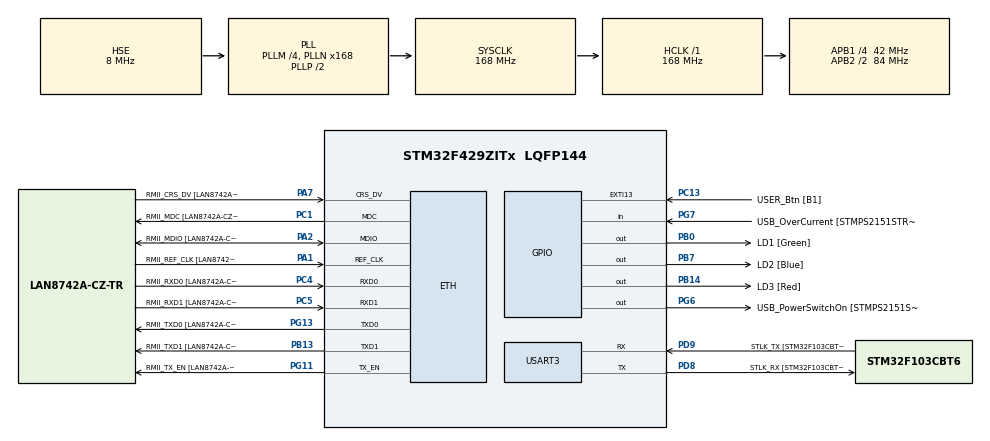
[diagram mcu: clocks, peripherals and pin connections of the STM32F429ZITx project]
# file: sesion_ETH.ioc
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ETH.MACAddr=00\:80\:E1\:FE\:EC\:72
ETH.MediaInterface=HAL_ETH_RMII_MODE
ETH.PHY_Name=LAN8742A_PHY_ADDRESS
ETH.PHY_Value=0
ETH.PhyAddress=0
FREERTOS.Tasks01=defaultTask,0,1024,StartDefaultTask,Default,NULL,Dynamic,NULL,NULL
FREERTOS.configTOTAL_HEAP_SIZE=32768
FREERTOS.configUSE_NEWLIB_REENTRANT=1
LWIP.BSP.number=1
LWIP.LWIP_HTTPD=1
LWIP.Version=v2.1.2_Cube
LWIP0.BSP.STBoard=false
LWIP0.BSP.api=BSP_COMPONENT_DRIVER
LWIP0.BSP.component=LAN8742
LWIP0.BSP.instance=LAN8742
LWIP0.BSP.name=Driver_PHY
LWIP0.BSP.semaphore=S_LAN8742
LWIP0.BSP.solution=LAN8742
Mcu.Family=STM32F4
Mcu.Name=STM32F429ZITx
Mcu.Package=LQFP144
NVIC.ETH_IRQn=true\:5\:0\:false\:false\:true\:true\:false\:true\:true
NVIC.PriorityGroup=NVIC_PRIORITYGROUP_4
NVIC.TIM8_TRG_COM_TIM14_IRQn=true\:15\:0\:false\:false\:true\:false\:false\:true\:true
NVIC.TimeBase=TIM8_TRG_COM_TIM14_IRQn
NVIC.TimeBaseIP=TIM14
PA1.GPIO_Label=RMII_REF_CLK [LAN8742A-CZ-TR_REFCLK0]
PA1.Mode=RMII
PA1.Signal=ETH_REF_CLK
PA10.GPIO_Label=USB_ID
PA10.Signal=USB_OTG_FS_ID
PA11.GPIO_Label=USB_DM
PA11.Signal=USB_OTG_FS_DM
PA12.GPIO_Label=USB_DP
PA12.Signal=USB_OTG_FS_DP
PA13.GPIO_Label=TMS
PA13.Mode=Serial_Wire
PA13.Signal=SYS_JTMS-SWDIO
PA14.GPIO_Label=TCK
PA14.Mode=Serial_Wire
PA14.Signal=SYS_JTCK-SWCLK
PA2.GPIO_Label=RMII_MDIO [LAN8742A-CZ-TR_MDIO]
PA2.Mode=RMII
PA2.Signal=ETH_MDIO
PA7.GPIO_Label=RMII_CRS_DV [LAN8742A-CZ-TR_CRS_DV]
PA7.Mode=RMII
PA7.Signal=ETH_CRS_DV
PA8.GPIO_Label=USB_SOF [TP1]
PA8.Signal=USB_OTG_FS_SOF
PA9.GPIO_Label=USB_VBUS
PA9.Signal=USB_OTG_FS_VBUS
PB0.GPIO_Label=LD1 [Green]
PB0.Signal=GPIO_Output
PB13.GPIO_Label=RMII_TXD1 [LAN8742A-CZ-TR_TXD1]
PB13.Mode=RMII
PB13.Signal=ETH_TXD1
PB14.GPIO_Label=LD3 [Red]
PB14.Signal=GPIO_Output
PB7.GPIO_Label=LD2 [Blue]
PB7.Signal=GPIO_Output
PC1.GPIO_Label=RMII_MDC [LAN8742A-CZ-TR_MDC]
PC1.Mode=RMII
PC1.Signal=ETH_MDC
PC13.GPIO_Label=USER_Btn [B1]
PC13.Signal=GPXTI13
PC14/OSC32_IN.Mode=LSE-External-Oscillator
PC14/OSC32_IN.Signal=RCC_OSC32_IN
PC15/OSC32_OUT.Mode=LSE-External-Oscillator
PC15/OSC32_OUT.Signal=RCC_OSC32_OUT
PC4.GPIO_Label=RMII_RXD0 [LAN8742A-CZ-TR_RXD0]
PC4.Mode=RMII
PC4.Signal=ETH_RXD0
PC5.GPIO_Label=RMII_RXD1 [LAN8742A-CZ-TR_RXD1]
PC5.Mode=RMII
PC5.Signal=ETH_RXD1
PD8.GPIO_Label=STLK_RX [STM32F103CBT6_PA3]
PD8.Mode=Asynchronous
PD8.Signal=USART3_TX
PD9.GPIO_Label=STLK_TX [STM32F103CBT6_PA2]
PD9.Mode=Asynchronous
PD9.Signal=USART3_RX
PG11.GPIO_Label=RMII_TX_EN [LAN8742A-CZ-TR_TXEN]
PG11.Mode=RMII
PG11.Signal=ETH_TX_EN
PG13.GPIO_Label=RMII_TXD0 [LAN8742A-CZ-TR_TXD0]
PG13.Mode=RMII
PG13.Signal=ETH_TXD0
PG6.GPIO_Label=USB_PowerSwitchOn [STMPS2151STR_EN]
PG6.Signal=GPIO_Output
PG7.GPIO_Label=USB_OverCurrent [STMPS2151STR_FAULT]
PG7.Signal=GPIO_Input
PH0/OSC_IN.GPIO_Label=MCO [STM32F103CBT6_PA8]
PH0/OSC_IN.Mode=HSE-External-Clock-Source
PH0/OSC_IN.Signal=RCC_OSC_IN
PH1/OSC_OUT.Mode=HSE-External-Clock-Source
PH1/OSC_OUT.Signal=RCC_OSC_OUT
ProjectManager.HeapSize=0x200
ProjectManager.StackSize=0x400
ProjectManager.TargetToolchain=STM32CubeIDE
RCC.48MHZClocksFreq_Value=48000000
RCC.AHBFreq_Value=168000000
RCC.APB1CLKDivider=RCC_HCLK_DIV4
RCC.APB1Freq_Value=42000000
RCC.APB1TimFreq_Value=84000000
RCC.APB2CLKDivider=RCC_HCLK_DIV2
RCC.APB2Freq_Value=84000000
RCC.APB2TimCLKDivider=2
RCC.APB2TimFreq_Value=168000000
RCC.CortexFreq_Value=168000000
RCC.HCLKFreq_Value=168000000
RCC.HSE_VALUE=8000000
RCC.HSI_VALUE=16000000
RCC.PLLM=4
RCC.PLLMUL=RCC_PLL_MUL9
RCC.PLLN=168
RCC.PLLQ=7
RCC.PLLSourceVirtual=RCC_PLLSOURCE_HSE
RCC.PRESCALERUSB=RCC_USBCLKSOURCE_PLL_DIV1_5
RCC.SYSCLKFreq_VALUE=168000000
RCC.SYSCLKSource=RCC_SYSCLKSOURCE_PLLCLK
RCC.SYSCLKSourceVirtual=RCC_SYSCLKSOURCE_PLLCLK
RCC.USBFreq_Value=48000000
RCC.VCOOutputFreq_Value=336000000
USART3.VirtualMode=VM_ASYNC
VP_FREERTOS_VS_CMSIS_V1.Mode=CMSIS_V1
VP_LWIP_VS_Enabled.Mode=Enabled
VP_RNG_VS_RNG.Mode=RNG_Activate
VP_SYS_VS_tim14.Mode=TIM14
board=NUCLEO-F429ZI

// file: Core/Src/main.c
/* USER CODE BEGIN Header */
/**
 ******************************************************************************
 * @file           : main.c
 * @brief          : Main program body
 ******************************************************************************
 * @attention
 *
 * Copyright (c) 2024 STMicroelectronics.
 * All rights reserved.
 *
 * This software is licensed under terms that can be found in the LICENSE file
 * in the root directory of this software component.
 * If no LICENSE file comes with this software, it is provided AS-IS.
 *
 ******************************************************************************
 */
/* USER CODE END Header */
#include "main.h"
#include "cmsis_os.h"
#include "lwip.h"

/* USER CODE BEGIN Includes */
#include "lwip/apps/httpd.h"
#include "lwip/api.h"

/* USER CODE END Includes */

/* USER CODE BEGIN PTD */
extern void tcpecho_init(void);
extern void telnet_init(void);
/* USER CODE END PTD */

/* USER CODE BEGIN PD */
#define CMD_BUFFER_LEN 64
/* USER CODE END PD */

RNG_HandleTypeDef hrng;

UART_HandleTypeDef huart3;

osThreadId defaultTaskHandle;

void SystemClock_Config(void);
static void MX_GPIO_Init(void);
static void MX_USART3_UART_Init(void);
static void MX_RNG_Init(void);
void StartDefaultTask(void const * argument);

/* USER CODE BEGIN 0 */
	static void telnet_process_command(char *cmd, struct netconn *conn){
		char *token;
		static uint8_t stateLED1 = 0;
		static uint8_t stateLED2 = 0;
		char *send;
		token = strtok(cmd," ");

		//printf("received: '%s'\n", data);

		if (strcasecmp("HELLO",token)==0){
			sprintf(send,"HELLO, Welcome to the HELL \n");
			netconn_write(conn, send, strlen(send), NETCONN_COPY);
		}else if (strcasecmp("LED1",token)==0) {
			token = strtok(NULL," ");
			if (strcasecmp("ON",token)==0){
				HAL_GPIO_WritePin(LD1_GPIO_Port, LD1_Pin, 1);
				stateLED1 = 1;
			}else if (strcasecmp("OFF",token)==0) {
				HAL_GPIO_WritePin(LD1_GPIO_Port, LD1_Pin, 0);
				stateLED1 = 0;
			}else {
				sprintf(send,"command not supported \n");
				netconn_write(conn, send, strlen(send), NETCONN_COPY);
			}
		}else if (strcasecmp("LED2",token)==0) {
			token = strtok(NULL," ");
			if (strcasecmp("ON",token)==0){
				HAL_GPIO_WritePin(LD2_GPIO_Port, LD2_Pin, 1);
				stateLED2 =1;
			}else if (strcasecmp("OFF",token)==0){
				HAL_GPIO_WritePin(LD2_GPIO_Port, LD2_Pin, 0);
				stateLED2 = 0;
			}else {
				sprintf(send,"command not supported /n");
				netconn_write(conn, send, strlen(send), NETCONN_COPY);
			}
		}else if (strcasecmp("STATUS",token)==0) {
			if ((stateLED1 || stateLED2) == 0){
				sprintf(send,"both LED is OFF \n");
				netconn_write(conn, send, strlen(send), NETCONN_COPY);
				return;
			}
			if ((stateLED1 && stateLED2) == 1){
				sprintf(send,"both LED is ON \n");
				netconn_write(conn, send, strlen(send), NETCONN_COPY);
				return;
			}
			if (stateLED1 == 1 && stateLED2 == 0){
				sprintf(send," LED1 is ON \n");
				netconn_write(conn, send, strlen(send), NETCONN_COPY);
			}else {
				sprintf(send," LED1 is OFF /n");
				netconn_write(conn, send, strlen(send), NETCONN_COPY);
			}
			if (stateLED2 == 1 && stateLED2 == 0){
				sprintf(send," LED2 is ON \n");
				netconn_write(conn, send, strlen(send), NETCONN_COPY);

			}else {
				sprintf(send," LED2 is OFF \n");
				netconn_write(conn, send, strlen(send), NETCONN_COPY);
			}
		}
	}

	void telnet_byte_available(uint8_t c, struct netconn *conn)
		{
		 static uint16_t cnt;
		 static char data[CMD_BUFFER_LEN];
		 if (cnt < CMD_BUFFER_LEN && c >= 32 && c <= 127) data[cnt++] = c;
		 if (c == '\n' || c == '\r') {
		 data[cnt] = '\0';
		 telnet_process_command(data, conn);
		 cnt = 0;
		 }
		}
	static void http_client(char *s, uint16_t size)
	{
	 struct netconn *client;
	 struct netbuf *buf;
	 ip_addr_t ip;
	 uint16_t len = 0;
	 IP_ADDR4(&ip, 147,229,144,124);
	 const char *request = "GET /ip.php HTTP/1.1\r\n"
	 "Host: www.urel.feec.vutbr.cz\r\n"
	 "Connection: close\r\n"
	 "\r\n\r\n";
	 client = netconn_new(NETCONN_TCP);
	 if (netconn_connect(client, &ip, 80) == ERR_OK) {
	 netconn_write(client, request, strlen(request), NETCONN_COPY);
	 // Receive the HTTP response
	 s[0] = 0;
	 while (len < size && netconn_recv(client, &buf) == ERR_OK) {
	 len += netbuf_copy(buf, &s[len], size-len);
	 s[len] = 0;
	 netbuf_delete(buf);
	 }
	 } else {
	 sprintf(s, "Connection error\n");
	 }
	 netconn_delete(client);
	}
/* USER CODE END 0 */

int main(void)
{

  /* MCU Configuration--------------------------------------------------------*/

  /* Reset of all peripherals, Initializes the Flash interface and the Systick. */
  HAL_Init();

  /* Configure the system clock */
  SystemClock_Config();

  /* Initialize all configured peripherals */
  MX_GPIO_Init();
  MX_USART3_UART_Init();
  MX_RNG_Init();

  /* Create the thread(s) */
  /* definition and creation of defaultTask */
  osThreadDef(defaultTask, StartDefaultTask, osPriorityNormal, 0, 1024);
  defaultTaskHandle = osThreadCreate(osThread(defaultTask), NULL);

  /* Start scheduler */
  osKernelStart();

  /* We should never get here as control is now taken by the scheduler */

  /* Infinite loop */
	while (1)
	{

	}
}

void SystemClock_Config(void)
{
  RCC_OscInitTypeDef RCC_OscInitStruct = {0};
  RCC_ClkInitTypeDef RCC_ClkInitStruct = {0};

  /** Configure the main internal regulator output voltage
  */
  __HAL_RCC_PWR_CLK_ENABLE();
  __HAL_PWR_VOLTAGESCALING_CONFIG(PWR_REGULATOR_VOLTAGE_SCALE1);

  /** Initializes the RCC Oscillators according to the specified parameters
  * in the RCC_OscInitTypeDef structure.
  */
  RCC_OscInitStruct.OscillatorType = RCC_OSCILLATORTYPE_HSE;
  RCC_OscInitStruct.HSEState = RCC_HSE_BYPASS;
  RCC_OscInitStruct.PLL.PLLState = RCC_PLL_ON;
  RCC_OscInitStruct.PLL.PLLSource = RCC_PLLSOURCE_HSE;
  RCC_OscInitStruct.PLL.PLLM = 4;
  RCC_OscInitStruct.PLL.PLLN = 168;
  RCC_OscInitStruct.PLL.PLLP = RCC_PLLP_DIV2;
  RCC_OscInitStruct.PLL.PLLQ = 7;
  if (HAL_RCC_OscConfig(&RCC_OscInitStruct) != HAL_OK)
  {
    Error_Handler();
  }

  /** Initializes the CPU, AHB and APB buses clocks
  */
  RCC_ClkInitStruct.ClockType = RCC_CLOCKTYPE_HCLK|RCC_CLOCKTYPE_SYSCLK
                              |RCC_CLOCKTYPE_PCLK1|RCC_CLOCKTYPE_PCLK2;
  RCC_ClkInitStruct.SYSCLKSource = RCC_SYSCLKSOURCE_PLLCLK;
  RCC_ClkInitStruct.AHBCLKDivider = RCC_SYSCLK_DIV1;
  RCC_ClkInitStruct.APB1CLKDivider = RCC_HCLK_DIV4;
  RCC_ClkInitStruct.APB2CLKDivider = RCC_HCLK_DIV2;

  if (HAL_RCC_ClockConfig(&RCC_ClkInitStruct, FLASH_LATENCY_5) != HAL_OK)
  {
    Error_Handler();
  }
}

static void MX_RNG_Init(void)
{

  hrng.Instance = RNG;
  if (HAL_RNG_Init(&hrng) != HAL_OK)
  {
    Error_Handler();
  }

}

static void MX_USART3_UART_Init(void)
{

  huart3.Instance = USART3;
  huart3.Init.BaudRate = 115200;
  huart3.Init.WordLength = UART_WORDLENGTH_8B;
  huart3.Init.StopBits = UART_STOPBITS_1;
  huart3.Init.Parity = UART_PARITY_NONE;
  huart3.Init.Mode = UART_MODE_TX_RX;
  huart3.Init.HwFlowCtl = UART_HWCONTROL_NONE;
  huart3.Init.OverSampling = UART_OVERSAMPLING_16;
  if (HAL_UART_Init(&huart3) != HAL_OK)
  {
    Error_Handler();
  }

}

static void MX_GPIO_Init(void)
{
  GPIO_InitTypeDef GPIO_InitStruct = {0};

  /* GPIO Ports Clock Enable */
  __HAL_RCC_GPIOC_CLK_ENABLE();
  __HAL_RCC_GPIOH_CLK_ENABLE();
  __HAL_RCC_GPIOA_CLK_ENABLE();
  __HAL_RCC_GPIOB_CLK_ENABLE();
  __HAL_RCC_GPIOD_CLK_ENABLE();
  __HAL_RCC_GPIOG_CLK_ENABLE();

  /*Configure GPIO pin Output Level */
  HAL_GPIO_WritePin(GPIOB, LD1_Pin|LD3_Pin|LD2_Pin, GPIO_PIN_RESET);

  /*Configure GPIO pin Output Level */
  HAL_GPIO_WritePin(USB_PowerSwitchOn_GPIO_Port, USB_PowerSwitchOn_Pin, GPIO_PIN_RESET);

  /*Configure GPIO pin : USER_Btn_Pin */
  GPIO_InitStruct.Pin = USER_Btn_Pin;
  GPIO_InitStruct.Mode = GPIO_MODE_IT_RISING;
  GPIO_InitStruct.Pull = GPIO_NOPULL;
  HAL_GPIO_Init(USER_Btn_GPIO_Port, &GPIO_InitStruct);

  /*Configure GPIO pins : LD1_Pin LD3_Pin LD2_Pin */
  GPIO_InitStruct.Pin = LD1_Pin|LD3_Pin|LD2_Pin;
  GPIO_InitStruct.Mode = GPIO_MODE_OUTPUT_PP;
  GPIO_InitStruct.Pull = GPIO_NOPULL;
  GPIO_InitStruct.Speed = GPIO_SPEED_FREQ_LOW;
  HAL_GPIO_Init(GPIOB, &GPIO_InitStruct);

  /*Configure GPIO pin : USB_PowerSwitchOn_Pin */
  GPIO_InitStruct.Pin = USB_PowerSwitchOn_Pin;
  GPIO_InitStruct.Mode = GPIO_MODE_OUTPUT_PP;
  GPIO_InitStruct.Pull = GPIO_NOPULL;
  GPIO_InitStruct.Speed = GPIO_SPEED_FREQ_LOW;
  HAL_GPIO_Init(USB_PowerSwitchOn_GPIO_Port, &GPIO_InitStruct);

  /*Configure GPIO pin : USB_OverCurrent_Pin */
  GPIO_InitStruct.Pin = USB_OverCurrent_Pin;
  GPIO_InitStruct.Mode = GPIO_MODE_INPUT;
  GPIO_InitStruct.Pull = GPIO_NOPULL;
  HAL_GPIO_Init(USB_OverCurrent_GPIO_Port, &GPIO_InitStruct);

  /*Configure GPIO pins : USB_SOF_Pin USB_ID_Pin USB_DM_Pin USB_DP_Pin */
  GPIO_InitStruct.Pin = USB_SOF_Pin|USB_ID_Pin|USB_DM_Pin|USB_DP_Pin;
  GPIO_InitStruct.Mode = GPIO_MODE_AF_PP;
  GPIO_InitStruct.Pull = GPIO_NOPULL;
  GPIO_InitStruct.Speed = GPIO_SPEED_FREQ_VERY_HIGH;
  GPIO_InitStruct.Alternate = GPIO_AF10_OTG_FS;
  HAL_GPIO_Init(GPIOA, &GPIO_InitStruct);

  /*Configure GPIO pin : USB_VBUS_Pin */
  GPIO_InitStruct.Pin = USB_VBUS_Pin;
  GPIO_InitStruct.Mode = GPIO_MODE_INPUT;
  GPIO_InitStruct.Pull = GPIO_NOPULL;
  HAL_GPIO_Init(USB_VBUS_GPIO_Port, &GPIO_InitStruct);

}

void StartDefaultTask(void const * argument)
{
  /* init code for LWIP */
	uint32_t rnd;
	HAL_RNG_GenerateRandomNumber(&hrng, &rnd);
	srand(rnd);
  MX_LWIP_Init();
  /* USER CODE BEGIN 5 */
	tcpecho_init();
	telnet_init();
	httpd_init();
	/* Infinite loop */
	for(;;)
	{
		osDelay(1);
	}
  /* USER CODE END 5 */
}

void HAL_TIM_PeriodElapsedCallback(TIM_HandleTypeDef *htim)
{
  if (htim->Instance == TIM14) {
    HAL_IncTick();
  }
}

void Error_Handler(void)
{
	__disable_irq();
	while (1)
	{
	}
}
